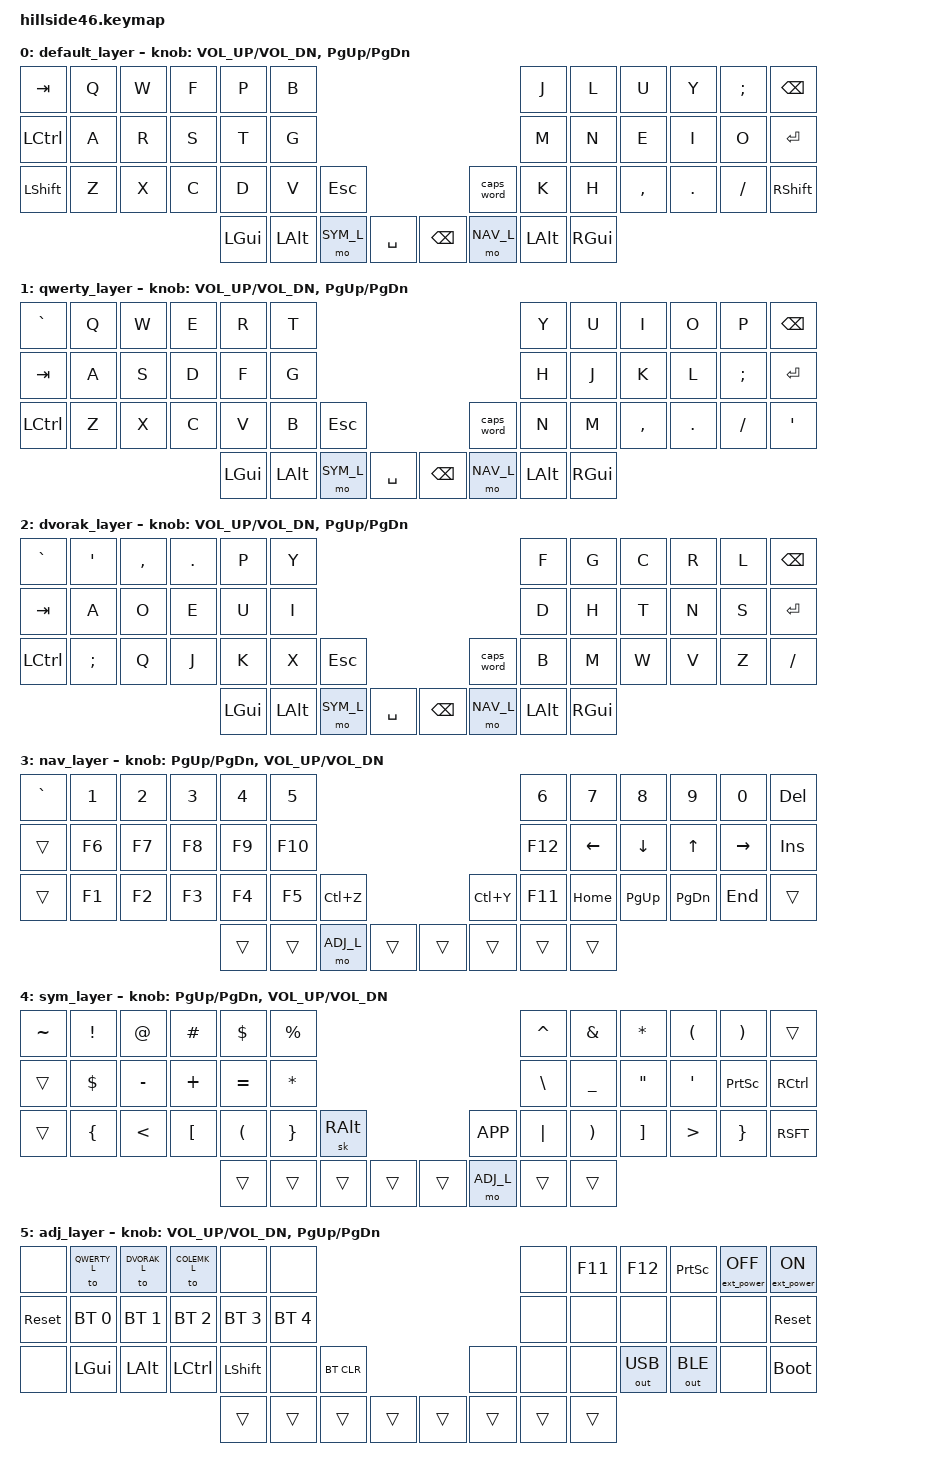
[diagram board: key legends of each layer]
/*
 * Copyright (c) 2021-2022 The ZMK Contributors
 *
 * SPDX-License-Identifier: MIT
 */

#include <behaviors.dtsi>
#include <dt-bindings/zmk/bt.h>
#include <dt-bindings/zmk/ext_power.h>
#include <dt-bindings/zmk/keys.h>
#include <dt-bindings/zmk/outputs.h>

#define COLEMK_L 0
#define QWERTY_L 1
#define DVORAK_L 2
#define NAV_L    3
#define SYM_L    4
#define ADJ_L    5

#define Undo   LC(Z)
#define Cut    LC(X)
#define Copy   LC(C)
#define Paste  LC(V)
#define Redo   LC(Y)


/ {
        keymap {
                compatible = "zmk,keymap";

                default_layer {
/* COLEMAK-DH
 * -------------------------------------------------------------------------------------------------------------------------------------
 * | TAB   |   Q   |   W   |   F   |   P   |   B   |-----------------------------------|   J   |   L   |   U   |   Y   |   ;   | BKSPC |
 * | CTRL  |   A   |   R   |   S   |   T   |   G   |-----------------------------------|   M   |   N   |   E   |   I   |   O   | ENTER |
 * | LSHFT |   Z   |   X   |   C   |   D   |   V   |  ESC  |-------------------| CAPS  |   K   |   H   |   ,   |   .   |   /   | RSHFT |
 *                                 |  GUI  |  ALT  |  Sym  | SPACE |---| BKSPC |  Nav  |  ALT  |  GUI  |
 */
                        bindings = <
&kp  TAB        &kp  Q        &kp  W        &kp  F        &kp  P        &kp  B                                                                         &kp  J        &kp  L        &kp  U        &kp  Y        &kp  SEMI     &kp  BSPC
&kp  LCTRL      &kp  A        &kp  R        &kp  S        &kp  T        &kp  G                                                                         &kp  M        &kp  N        &kp  E        &kp  I        &kp  O        &kp  ENTER
&kp  LSHIFT     &kp  Z        &kp  X        &kp  C        &kp  D        &kp  V        &kp   ESC                                          &caps_word    &kp  K        &kp  H        &kp  COMMA    &kp  DOT      &kp  SLASH    &kp  RSHFT
                                                          &kp  LGUI     &kp  LALT     &mo  SYM_L    &kp  SPACE            &kp  BSPC      &mo  NAV_L    &kp  LALT     &kp  RGUI
                        >;
			
                        sensor-bindings = <&inc_dec_kp C_VOL_UP C_VOL_DN &inc_dec_kp PG_UP PG_DN>;
                };

                qwerty_layer {
/* QWERTY
 * -------------------------------------------------------------------------------------------------------------------------------------
 * | `     |   Q   |   W   |   E   |   R   |   T   |-----------------------------------|   Y   |   U   |   I   |   O   |   P   | BKSPC |
 * | TAB   |   A   |   S   |   D   |   F   |   G   |-----------------------------------|   H   |   J   |   K   |   L   |   ;   | ENTER |
 * | CTRL  |   Z   |   X   |   C   |   V   |   B   |  ESC  |-------------------|  CAPS |   N   |   M   |   ,   |   .   |   /   |   '   |
 *                                 |  GUI  |  ALT  |  Sym  | SPACE |---| BKSPC |  Nav  |  ALT  |  GUI  |
 */
                        bindings = <
&kp  GRAVE    &kp  Q        &kp  W        &kp  E        &kp  R        &kp  T                                                                         &kp  Y        &kp  U        &kp  I        &kp  O        &kp  P        &kp  BSPC
&kp  TAB      &kp  A        &kp  S        &kp  D        &kp  F        &kp  G                                                                         &kp  H        &kp  J        &kp  K        &kp  L        &kp  SEMI     &kp  ENTER  
&kp  LCTRL    &kp  Z        &kp  X        &kp  C        &kp  V        &kp  B        &kp  ESC                                           &caps_word    &kp  N        &kp  M        &kp  COMMA    &kp  DOT      &kp  SLASH    &kp  SQT
                                                        &kp  LGUI     &kp  LALT     &mo  SYM_L    &kp  SPACE            &kp  BSPC      &mo  NAV_L    &kp  LALT     &kp  RGUI
                        >;
			
                        sensor-bindings = <&inc_dec_kp C_VOL_UP C_VOL_DN &inc_dec_kp PG_UP PG_DN>;
                };
		
                dvorak_layer {
/* DVORAK
 * -------------------------------------------------------------------------------------------------------------------------------------
 * | `     |   '   |   ,   |   .   |   P   |   Y   |-----------------------------------|   F   |   G   |   C   |   R   |   L   | BKSPC |
 * | TAB   |   A   |   O   |   E   |   U   |   I   |-----------------------------------|   D   |   H   |   T   |   N   |   S   | ENTER |
 * | CTRL  |   ;   |   Q   |   J   |   K   |   X   |  ESC  |-------------------| CAPS  |   B   |   M   |   W   |   V   |   Z   |   /   |
 *                                 |  GUI  |  ALT  |  Sym  | SPACE |---| BKSPC |  Nav  |  ALT  |  GUI  |
 */
                        bindings = <
&kp  GRAVE    &kp  SQT      &kp  COMMA    &kp  DOT      &kp  P        &kp  Y                                                                         &kp  F        &kp  G        &kp  C        &kp  R        &kp  L        &kp  BSPC
&kp  TAB      &kp  A        &kp  O        &kp  E        &kp  U        &kp  I                                                                         &kp  D        &kp  H        &kp  T        &kp  N        &kp  S        &kp  ENTER
&kp  LCTRL    &kp  SEMI     &kp  Q        &kp  J        &kp  K        &kp  X        &kp  ESC                                           &caps_word    &kp  B        &kp  M        &kp  W        &kp  V        &kp  Z        &kp  SLASH
                                                        &kp  LGUI     &kp  LALT     &mo  SYM_L    &kp  SPACE            &kp  BSPC      &mo  NAV_L    &kp  LALT     &kp  RGUI
                        >;
			
                        sensor-bindings = <&inc_dec_kp C_VOL_UP C_VOL_DN &inc_dec_kp PG_UP PG_DN>;
                };
		
                nav_layer {
/* NAV   
 * -------------------------------------------------------------------------------------------------------------------------------------
 * |   `   |   1   |   2   |   3   |   4   |   5   |-----------------------------------|   6   |   7   |   8   |   9   |   0   |  DEL  |
 * | Ctrl  |  F6   |  F7   |  F8   |  F9   |  F10  |-----------------------------------|  F12  |  Left |  Up   |  Down | Right |  INS  |
 * |SK SHFT|  F1   |  F2   |  F3   |  F4   |  F5   |  UnDo |-------------------| ReDo  |  F11  | HOME  | PG_UP | PG DN |  END  |SK SHFT|
 *                                 |       |       | ADJ_L |       |---|       |       |       |       |
 */
                        bindings = <
&kp  GRAVE    &kp  N1       &kp  N2       &kp  N3       &kp  N4       &kp  N5                                                                        &kp   N6      &kp   N7      &kp   N8      &kp   N9      &kp  N0       &kp DEL
&trans        &kp  F6       &kp  F7       &kp  F8       &kp  F9       &kp  F10                                                                       &kp   F12     &kp  LEFT     &kp   DOWN    &kp   UP      &kp  RIGHT    &kp INS
&trans        &kp  F1       &kp  F2       &kp  F3       &kp  F4       &kp  F5       &kp Undo                                           &kp  Redo     &kp   F11     &kp  HOME     &kp   PG_UP   &kp   PG_DN   &kp  END      &trans
                                                        &trans        &trans        &mo ADJ_L        &trans                 &trans     &trans        &trans        &trans 
                        >;
			
                        sensor-bindings = <&inc_dec_kp PG_UP PG_DN &inc_dec_kp C_VOL_UP C_VOL_DN>;
                };

                sym_layer {
/* SYM
 * -------------------------------------------------------------------------------------------------------------------------------------
 * |   ~   |   !   |   @   |   #   |   $   |   %   |-----------------------------------|   ^   |   &   |   *   |   (   |   )   | BSPC  |
 * |       |   $   |   -   |   +   |   =   |   *   |-----------------------------------|   \   |   _   |   "   |   '   |   :   | Ctrl  |
 * |       |   {   |   <   |   [   |   (   |   %   |SkAltGr|-------------------| MENU  |   |   |   )   |   ]   |   >   |   }   | SHFT  |
 *                                 |       |       |       |       |---|       | ADJ_L |       |       |
 */
                        bindings = <
&kp  TILDE    &kp  EXCL     &kp  AT       &kp  HASH     &kp  DOLLAR   &kp  PERCENT                                                                   &kp  CARET    &kp  AMPS     &kp  ASTRK    &kp  LPAR     &kp  RPAR     &trans
&trans        &kp  DOLLAR   &kp  MINUS    &kp  PLUS     &kp  EQUAL    &kp  ASTRK                                                                     &kp BSLH      &kp  UNDER    &kp  DQT      &kp  SQT      &kp  PSCRN    &kp RCTRL
&trans        &kp  LBRC     &kp  LT       &kp  LBKT     &kp  LPAR     &kp  RBRC     &sk  RALT                                          &kp K_APP     &kp  PIPE     &kp  RPAR     &kp  RBKT     &kp  GT       &kp  RBRC     &kp RSFT
                                                        &trans        &trans        &trans       &trans                   &trans   &mo  ADJ_L        &trans        &trans
                        >;
			
                        sensor-bindings = <&inc_dec_kp PG_UP PG_DN &inc_dec_kp C_VOL_UP C_VOL_DN>;
                };
		
                adj_layer {
/* ADJUST
 * -------------------------------------------------------------------------------------------------------------------------------------
 * |       | QWERTY| DVORAK| COLEMK|       |       |-----------------------------------|       |  F11  |  F12  |Prt Scr|EP_OFF | EP_ON |
 * | RESET | BT 0  | BT 1  | BT 2  | BT 3  | BT 4  |-----------------------------------|       |       |       |       |       | RESET |
 * |       | LGUI  | LALT  | LCTRL | LSHIFT|       |BT CLR |-------------------|       |       |       |OUT_USB|OUT_BLE|       | BOOTL |
 *                                 |       |       |       |       |---|       |       |       |       |
 */
                        bindings = <
&none         &to  QWERTY_L &to  DVORAK_L &to  COLEMK_L &none         &none                                                                             &none             &kp   F11          &kp   F12  &kp PRINTSCREEN   &ext_power EP_OFF  &ext_power EP_ON
&sys_reset    &bt  BT_SEL 0 &bt  BT_SEL 1 &bt  BT_SEL 2 &bt  BT_SEL 3 &bt  BT_SEL 4                                                                     &none             &none              &none            &none          &none           &sys_reset
&none         &kp  LGUI     &kp  LALT     &kp  LCTRL    &kp LSHIFT    &none         &bt BT_CLR                                         &none            &none             &none              &out  OUT_USB    &out  OUT_BLE  &none           &bootloader
                                                        &trans        &trans        &trans        &trans                 &trans        &trans           &trans            &trans 
                        >;
			
                        sensor-bindings = <&inc_dec_kp C_VOL_UP C_VOL_DN &inc_dec_kp PG_UP PG_DN>;
                };
        };
};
